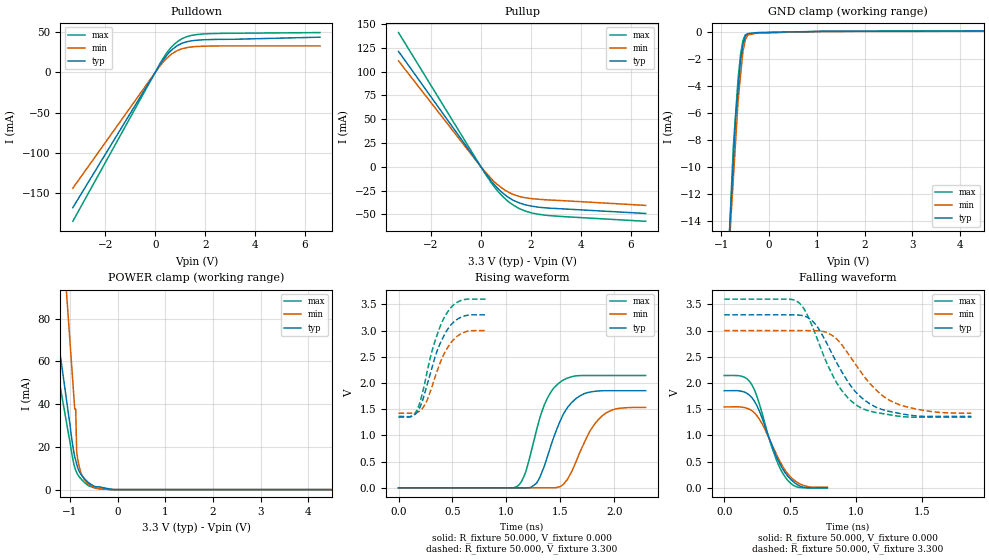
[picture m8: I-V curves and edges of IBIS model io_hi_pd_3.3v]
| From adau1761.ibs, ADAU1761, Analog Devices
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[Model]   io_hi_pd_3.3v
Model_type I/O
Vinl = 9.900E-01
Vinh = 2.310E+00
Vref=0.000E+00
Rref=1.000E+06
Cref=0.000E+00
Vmeas=1.650E+00
C_comp   5.9300E-13   5.6335E-13   6.2265E-13
[Voltage Range]   3.300E+00   3.000E+00   3.600E+00
[POWER Clamp Reference]   3.300E+00   3.000E+00   3.600E+00
[GND Clamp Reference]   0.000E+00   0.000E+00   0.000E+00
[Pullup Reference]   3.300E+00   3.000E+00   3.600E+00
[Pulldown Reference]   0.000E+00   0.000E+00   0.000E+00
[Temperature Range]   25   85   -40
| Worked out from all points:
|   slope of the pulldown table from 0 to 0.495 V, typ, clamps not added: 22 ohm
|   slope of the pullup table from 0 to 0.495 V, typ, clamps not added: 28.1 ohm
|   GND clamp passes 1 mA (typ) near -0.55 V on its own axis
|   POWER clamp passes 1 mA (typ) near -0.33 V on its own axis
|   rising waveform, R_fixture 50.000, V_fixture 0.000: 20-80 % time 208ps typ, 217ps min, 185ps max; typ from 0 V to 1.85 V
|   falling waveform, R_fixture 50.000, V_fixture 0.000: 20-80 % time 177ps typ, 183ps min, 161ps max; typ from 1.85 V to 0 V
|   rising waveform, R_fixture 50.000, V_fixture 3.300: 20-80 % time 188ps typ, 180ps min, 180ps max; typ from 1.36 V to 3.3 V
|   falling waveform, R_fixture 50.000, V_fixture 3.300: 20-80 % time 283ps typ, 306ps min, 254ps max; typ from 3.3 V to 1.36 V
[GND Clamp]
-3.3V     -177.3mA   -158.8mA   -207.6mA
-750mV    -9.48mA    -10.87mA   -8.485mA
-700mV    -6.189mA   -7.965mA   -5.957mA
-650mV    -4.159mA   -5.063mA   -3.43mA
-600mV    -2.128mA   -3.252mA   -1.687mA
-550mV    -914.7uA   -1.441mA   -630.3uA
-500mV    -306.1uA   -590.9uA   -184.3uA
-450mV    -93.32uA   -195.9uA   -156.7uA
-225mV    -19.98uA   -51.54uA   -44.27uA
1.05V     62.05uA    54.96uA    59.19uA
6.6V      98.62uA    85.9uA     109.4uA
[Power Clamp]
-3.3V     401.5mA    795.9mA    316.1mA
-1.02V    33.41mA    75.54mA    24.61mA
-960mV    23.31mA    56.58mA    16.67mA
-900mV    15.21mA    37.63mA    10.39mA
-880mV    13.77mA    37.63mA    9.007mA
-860mV    11.86mA    17.7mA     8.01mA
-820mV    9.101mA    12.06mA    6.478mA
-760mV    6.843mA    7.122mA    4.84mA
-600mV    3.095mA    2.443mA    1.66mA
-460mV    1.323mA    699.9uA    667.3uA
-80mV     0A         0A         0A
6.6V      0A         0A         0A
[Pullup]
-3.3V     121.1mA    111.2mA    140.9mA
0V        0A         0A         0A
360mV     -13.05mA   -10.88mA   -14.88mA
500mV     -17.79mA   -15.05mA   -19.88mA
720mV     -23.96mA   -19.97mA   -27.01mA
1.16V     -33.14mA   -27.44mA   -37.87mA
1.54V     -38.06mA   -31.17mA   -44.01mA
1.78V     -39.99mA   -32.56mA   -46.53mA
2.48V     -42.98mA   -34.53mA   -50.6mA
6.6V      -49.1mA    -40.64mA   -57.34mA
[Pulldown]
-3.3V     -167.6mA   -143.5mA   -184.5mA
200mV     10.25mA    8.474mA    11.55mA
560mV     24.78mA    20.35mA    28.19mA
860mV     32.67mA    26.66mA    37.52mA
1.06V     36mA       29.24mA    41.62mA
1.3V      38.31mA    31.01mA    44.67mA
1.88V     40.43mA    32.48mA    47.67mA
6.6V      43.75mA    32.98mA    49.46mA
[Rising Waveform]
R_fixture = 50.000
V_fixture = 0.000
V_fixture_min = 0.000
V_fixture_max = 0.000
|  time   V(typ)   V(min)   V(max)
0s        0V         0V         0V
1.09ns    0V         0V         17.83mV
1.17ns    -450.1uV   0V         255mV
1.28ns    90.52mV    0V         1.111V
1.35ns    408.9mV    0V         1.581V
1.48ns    1.188V     12.81mV    1.987V
1.65ns    1.712V     524.1mV    2.138V
1.77ns    1.825V     1.068V     2.143V
1.89ns    1.852V     1.378V     2.143V
2.29ns    1.853V     1.533V     2.143V
[Falling Waveform]
R_fixture = 50.000
V_fixture = 0.000
V_fixture_min = 0.000
V_fixture_max = 0.000
|  time   V(typ)   V(min)   V(max)
0s        1.853V     1.544V     2.143V
140ps     1.837V     1.537V     2.122V
210ps     1.717V     1.469V     1.961V
280ps     1.374V     1.25V      1.482V
340ps     946mV      942.1mV    936.9mV
390ps     620.7mV    667.4mV    566.7mV
430ps     415.3mV    465mV      334.8mV
490ps     197.4mV    240.1mV    117.2mV
590ps     18.2mV     55.87mV    1.999mV
780ps     0V         11.42mV    0V
[Rising Waveform]
R_fixture = 50.000
V_fixture = 3.300
V_fixture_min = 3.000
V_fixture_max = 3.600
|  time   V(typ)   V(min)   V(max)
0s        1.363V     1.424V     1.347V
120ps     1.365V     1.424V     1.363V
170ps     1.438V     1.436V     1.48V
210ps     1.593V     1.491V     1.714V
250ps     1.857V     1.606V     2.062V
340ps     2.505V     2.122V     2.812V
400ps     2.814V     2.458V     3.149V
470ps     3.068V     2.723V     3.398V
610ps     3.279V     2.968V     3.592V
820ps     3.3V       3V         3.6V
[Falling Waveform]
R_fixture = 50.000
V_fixture = 3.300
V_fixture_min = 3.000
V_fixture_max = 3.600
|  time   V(typ)   V(min)   V(max)
0s        3.3V       3V         3.6V
560ps     3.296V     3V         3.541V
620ps     3.264V     3V         3.341V
690ps     3.119V     2.996V     2.933V
830ps     2.487V     2.887V     2.097V
940ps     2.006V     2.55V      1.702V
1.04ns    1.718V     2.19V      1.519V
1.19ns    1.498V     1.775V     1.42V
1.32ns    1.422V     1.591V     1.367V
1.87ns    1.363V     1.424V     1.347V
[Ramp]
dV/dt_r   1.112E+00/2.062E-10   9.195E-01/2.174E-10   1.286E+00/1.840E-10
dV/dt_f   1.162E+00/2.831E-10   9.456E-01/3.056E-10   1.352E+00/2.518E-10
R_load = 50
